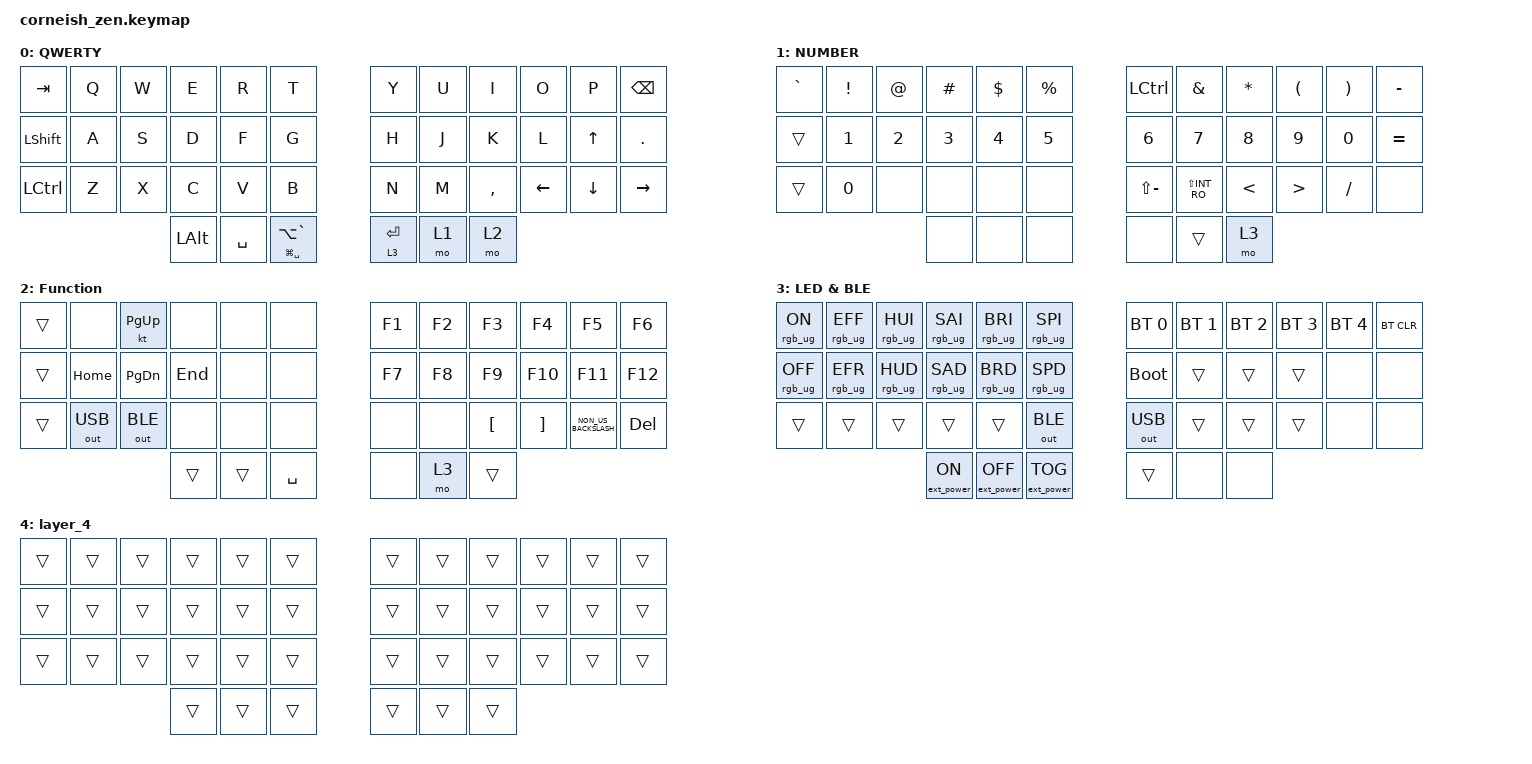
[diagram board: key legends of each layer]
/*
 * Copyright (c) 2020 The ZMK Contributors
 *
 * SPDX-License-Identifier: MIT
 */

#include <behaviors.dtsi>
#include <dt-bindings/zmk/bt.h>
#include <dt-bindings/zmk/ext_power.h>
#include <dt-bindings/zmk/keys.h>
#include <dt-bindings/zmk/keys.h>
#include <dt-bindings/zmk/outputs.h>
#include <dt-bindings/zmk/rgb.h>

/ {
    chosen {
        zmk,matrix_transform = &default_transform;

        // zmk,matrix_transform = &five_column_transform;
    };
};

/ {
    behaviors {
        td0: td0 {
            compatible = "zmk,behavior-tap-dance";
            label = "TD0";
            #binding-cells = <0>;
            bindings = <&kp LEFT_SHIFT>, <&kp CAPS>;
        };
    };

    combos {
        compatible = "zmk,combos";

        combo1 {
            bindings = <&kp ESCAPE>;
            key-positions = <0 1>;
            layers = <0>;
            timeout-ms = <50>;
        };

        combo2 {
            bindings = <&kp LEFT_GUI>;
            key-positions = <36 37>;
            timeout-ms = <50>;
            layers = <0>;
        };

        combo3 {
            bindings = <&kp SEMICOLON>;
            key-positions = <22 23>;
            timeout-ms = <50>;
            layers = <0>;
        };

        combo4 {
            bindings = <&kp SINGLE_QUOTE>;
            key-positions = <35 23>;
            timeout-ms = <50>;
            layers = <0>;
        };
    };

    keymap {
        compatible = "zmk,keymap";

        default_layer {
            display-name = "QWERTY";

            // --------------------------------------------------------------------------------
            // |  TAB |  Q  |  W  |  E  |  R  |  T  |   |  Y  |  U   |  I  |  O  |  P  | BKSP |
            // | CTRL |  A  |  S  |  D  |  F  |  G  |   |  H  |  J   |  K  |  L  |  ;  |  '   | 
            // | SHFT |  Z  |  X  |  C  |  V  |  B  |   |  N  |  M   |  ,  |  .  |  /  | ESC  |
            //                    | GUI | LWR | SPC |   | ENT | RSE  | ALT |

            bindings = <
&kp TAB         &kp Q  &kp W  &kp E         &kp R      &kp T                      &kp Y        &kp U  &kp I      &kp O     &kp P         &kp BSPC
&kp LEFT_SHIFT  &kp A  &kp S  &kp D         &kp F      &kp G                      &kp H        &kp J  &kp K      &kp L     &kp UP_ARROW  &kp DOT
&kp LCTRL       &kp Z  &kp X  &kp C         &kp V      &kp B                      &kp N        &kp M  &kp COMMA  &kp LEFT  &kp DOWN      &kp RIGHT
                              &kp LEFT_ALT  &kp SPACE  &mt LG(SPACE) LA(GRAVE)    &lt 3 ENTER  &mo 1  &mo 2
            >;
        };

        lower_layer {
            display-name = "NUMBER";

            // -----------------------------------------------------------------------------------------
            // |  TAB |  1  |  2  |  3  |  4  |  5  |   |  6  |  7  |  8  |  9  |  0  | BKSP |
            // | BTCLR| BT1 | BT2 | BT3 | BT4 | BT5 |   | LFT | DWN |  UP | RGT |     |      |
            // | SHFT |     |     |     |     |     |   |     |     |     |     |     |      |
            //                    | GUI |     | SPC |   | ENT |     | ALT |

            bindings = <
&kp GRAVE  &kp EXCLAMATION  &kp AT_SIGN  &kp POUND     &kp DOLLAR    &kp PERCENT    &kp LCTRL      &kp AMPERSAND   &kp ASTERISK   &kp LEFT_PARENTHESIS  &kp RIGHT_PARENTHESIS  &kp MINUS
&trans     &kp N1           &kp N2       &kp NUMBER_3  &kp NUMBER_4  &kp N5         &kp NUMBER_6   &kp N7          &kp N8         &kp NUMBER_9          &kp NUMBER_0           &kp EQUAL
&trans     &kp N0           &none        &none         &none         &none          &kp LS(MINUS)  &kp LS(INT_RO)  &kp LESS_THAN  &kp GREATER_THAN      &kp SLASH              &none
                                         &none         &none         &none          &none          &trans          &mo 3
            >;
        };

        raise_layer {
            display-name = "Function";

            // -----------------------------------------------------------------------------------------
            // |  TAB |  !  |  @  |  #  |  $  |  %  |   |  ^  |  &  |  *  |  (  |  )  | BKSP |
            // | CTRL |     |     |     |     |     |   |  -  |  =  |  [  |  ]  |  \  |  `   |
            // | SHFT |     |     |     |     |     |   |  _  |  +  |  {  |  }  | "|" |  ~   |
            //                    | GUI |     | SPC |   | ENT |     | ALT |

            bindings = <
&trans  &none         &kt PAGE_UP    &none    &none   &none        &kp F1  &kp F2  &kp F3            &kp F4             &kp F5                &kp F6
&trans  &kp HOME      &kp PAGE_DOWN  &kp END  &none   &none        &kp F7  &kp F8  &kp F9            &kp F10            &kp F11               &kp F12
&trans  &out OUT_USB  &out OUT_BLE   &none    &none   &none        &none   &none   &kp LEFT_BRACKET  &kp RIGHT_BRACKET  &kp NON_US_BACKSLASH  &kp DELETE
                                     &trans   &trans  &kp SPACE    &none   &mo 3   &trans
            >;
        };

        layer_3 {
            display-name = "LED & BLE";
            bindings = <
&rgb_ug RGB_ON   &rgb_ug RGB_EFF  &rgb_ug RGB_HUI  &rgb_ug RGB_SAI   &rgb_ug RGB_BRI    &rgb_ug RGB_SPI      &bt BT_SEL 0  &bt BT_SEL 1  &bt BT_SEL 2  &bt BT_SEL 3  &bt BT_SEL 4  &bt BT_CLR
&rgb_ug RGB_OFF  &rgb_ug RGB_EFR  &rgb_ug RGB_HUD  &rgb_ug RGB_SAD   &rgb_ug RGB_BRD    &rgb_ug RGB_SPD      &bootloader   &trans        &trans        &trans        &none         &none
&trans           &trans           &trans           &trans            &trans             &out OUT_BLE         &out OUT_USB  &trans        &trans        &trans        &none         &none
                                                   &ext_power EP_ON  &ext_power EP_OFF  &ext_power EP_TOG    &trans        &none         &none
            >;
        };

        layer_4 {
            bindings = <
&trans  &trans  &trans  &trans  &trans  &trans    &trans  &trans  &trans  &trans  &trans  &trans
&trans  &trans  &trans  &trans  &trans  &trans    &trans  &trans  &trans  &trans  &trans  &trans
&trans  &trans  &trans  &trans  &trans  &trans    &trans  &trans  &trans  &trans  &trans  &trans
                        &trans  &trans  &trans    &trans  &trans  &trans
            >;
        };
    };
};
